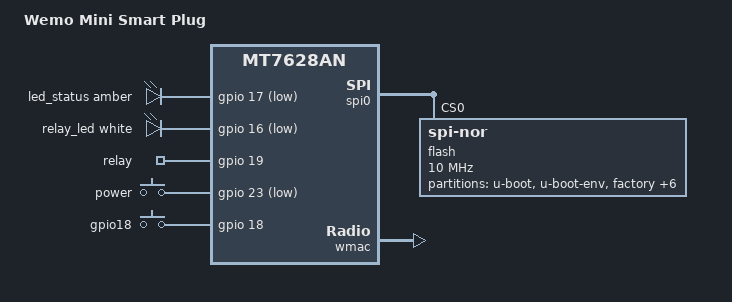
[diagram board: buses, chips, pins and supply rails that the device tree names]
// SPDX-License-Identifier: GPL-2.0-or-later OR MIT

#include "mt7628an.dtsi"

#include <dt-bindings/gpio/gpio.h>
#include <dt-bindings/input/input.h>
#include <dt-bindings/leds/common.h>

/ {
	compatible = "belkin,f7c063", "mediatek,mt7628an-soc";
	model = "Wemo Mini Smart Plug";

	aliases {
		led-boot = &led_status;
		led-failsafe = &led_status;
		led-upgrade = &led_status;
	};

	leds {
		compatible = "gpio-leds";

		led_status: status {
			color = <LED_COLOR_ID_AMBER>;
			function = LED_FUNCTION_STATUS;
			gpios = <&gpio 17 GPIO_ACTIVE_LOW>;
			default-state = "on";
		};

		relay_led {
			color = <LED_COLOR_ID_WHITE>;
			function = LED_FUNCTION_POWER;
			gpios = <&gpio 16 GPIO_ACTIVE_LOW>;
		};

		relay {
			gpios = <&gpio 19 GPIO_ACTIVE_HIGH>;
		};
	};

	keys {
		compatible = "gpio-keys-polled";
		poll-interval = <50>;
        
		autorepeat;
		power {
			label = "power";
			gpios = <&gpio 23 GPIO_ACTIVE_LOW>;
			linux,code = <KEY_POWER>;
		};
		
		gpio18 {
			label = "gpio18";
			gpios = <&gpio 18 GPIO_ACTIVE_HIGH>;
			linux,code = <BTN_0>;
		};
	};
};

&state_default {
	gpio {
		groups = "i2c", "wdt", "sdmode", "pwm0";
		function = "gpio";
	};
};

&spi0 {
	status = "okay";

	pinctrl-names = "default";
	pinctrl-0 = <&spi_pins>, <&spi_cs1_pins>;

	flash@0 {
		compatible = "jedec,spi-nor";
		reg = <0>;
		spi-max-frequency = <10000000>;

		partitions {
			compatible = "fixed-partitions";
			#address-cells = <1>;
			#size-cells = <1>;

			partition@0 {
				label = "u-boot";
				reg = <0x0 0x30000>;
				read-only;
			};
			partition@30000 {
				label = "u-boot-env";
				reg = <0x30000 0x10000>;
			};
			partition@40000 {
				label = "factory";
				reg = <0x40000 0x10000>;
				read-only;

				nvmem-layout {
					compatible = "fixed-layout";
					#address-cells = <1>;
					#size-cells = <1>;

					eeprom_factory_0: eeprom@0 {
						reg = <0x0 0x400>;
					};

					macaddr_factory_4: macaddr@4 {
						reg = <0x04 0x6>;
					};

					macaddr_factory_28: macaddr@28 {
						reg = <0x28 0x6>;
					};
				};
			};
			partition@50000 {
				compatible = "denx,uimage";
				label = "firmware";
				openwrt,cmdline-match = "root=/dev/mtdblock2";
				reg = <0x50000 0x770000>;
			};
			partition@7c0000 {
				compatible = "denx,uimage";
				label = "firmware2";
				openwrt,cmdline-match = "root=/dev/mtdblock4";
				reg = <0x7c0000 0x770000>;
			};
			partition@f30000 {
				label = "spare";
				reg = <0xf30000 0x20000>;
			};
			partition@f50000 {
				label = "belkin_settings";
				reg = <0xf50000 0x90000>;
			};
			partition@fe0000 {
				label = "nvram";
				reg = <0xfe0000 0x10000>;
			};
			partition@ff0000 {
				label = "user_factory";
				reg = <0xff0000 0x10000>;
			};
		};		
	};
};

&ethernet {
	nvmem-cells = <&macaddr_factory_28>;
	nvmem-cell-names = "mac-address";
};

&esw {
	mediatek,portmap = <0x3e>;
};

&wmac {
	status = "okay";

	nvmem-cells = <&eeprom_factory_0>;
	nvmem-cell-names = "eeprom";

	nvmem-cells = <&macaddr_factory_4 (1)>;
	nvmem-cell-names = "mac-address";
};
